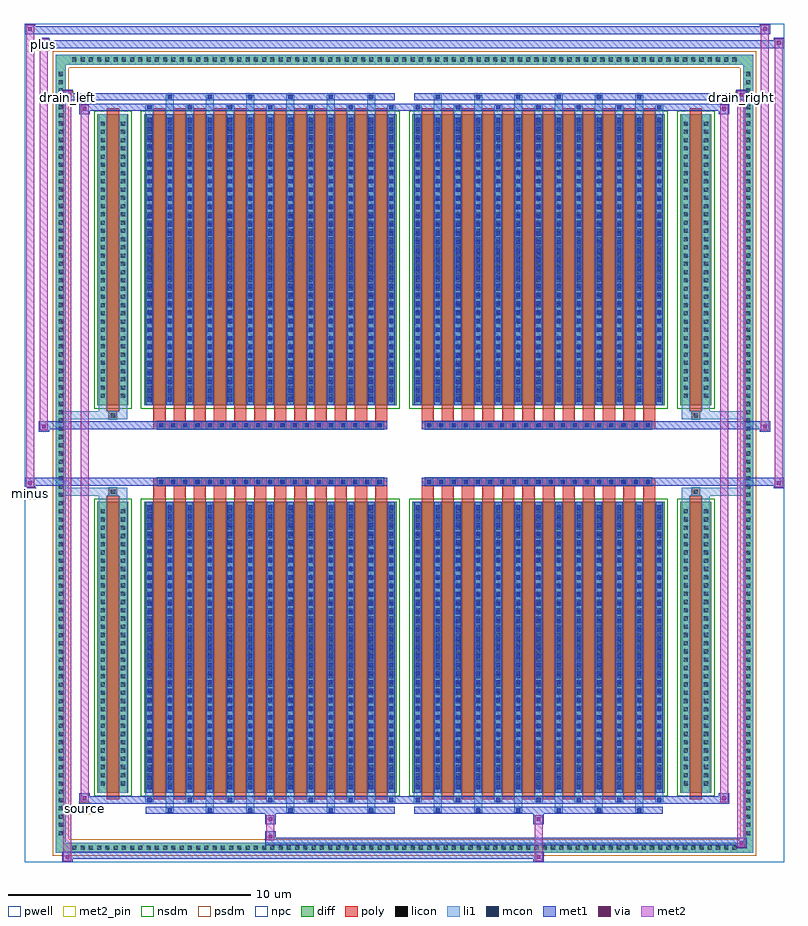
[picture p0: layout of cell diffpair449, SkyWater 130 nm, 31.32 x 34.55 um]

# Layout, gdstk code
import gdstk
lib = gdstk.Library(unit=1e-6, precision=5e-09)
def R(c, l, rs):  # rectangles x0, y0, x1, y1
    for r in rs: c.add(gdstk.rectangle(r[:2], r[2:], *l))
def A(c, l, x, y, w, h, nx, ny, dx, dy):  # array of equal rectangles
    R(c, l, [(x+i*dx, y+j*dy, x+i*dx+w, y+j*dy+h) for i in range(nx) for j in range(ny)])
def P(c, l, *ps):  # polygons
    for p in ps: c.add(gdstk.Polygon(p, *l))
pwell = (64, 44)
diff = (65, 20)
poly = (66, 20)
licon = (66, 44)
li1 = (67, 20)
mcon = (67, 44)
met1 = (68, 20)
via = (68, 44)
met2_pin = (69, 16)
met2 = (69, 20)
nsdm = (93, 44)
psdm = (94, 20)
npc = (95, 20)

diffpair449 = lib.new_cell('diffpair449')
R(diffpair449, pwell, [(-15.64,-16.84,15.64,17.71), (-12.96,-15.03,-0.01,-0.805), (0.01,-15.03,12.96,-0.805), (-12.96,0.805,-0.01,15.03), (0.01,0.805,12.96,15.03)])
A(diffpair449, diff, -13.805, -16.44, 0.41, 0.41, 81, 2, 0.34, 32.47)
A(diffpair449, diff, -14.37, -15.845, 0.41, 0.41, 1, 93, 0, 0.34)
A(diffpair449, diff, 13.96, -15.845, 0.41, 0.41, 1, 93, 0, 0.34)
R(diffpair449, diff, [(-13.805,-16.44,13.805,-16.03), (-14.37,-15.845,-13.96,15.845), (13.96,-15.845,14.37,15.845), (-12.65,-13.985,-11.37,-1.985), (-10.73,-13.985,-0.32,-1.985), (0.32,-13.985,10.73,-1.985), (11.37,-13.985,12.65,-1.985), (-12.65,1.985,-11.37,13.985), (-10.73,1.985,-0.32,13.985), (0.32,1.985,10.73,13.985), (11.37,1.985,12.65,13.985), (-13.805,16.03,13.805,16.44)])
P(diffpair449, diff, [(14.37,16.44),(-14.37,16.44),(-14.37,-16.03),(-13.96,-16.03),(-13.96,16.03),(13.96,16.03),(13.96,-16.03),(-13.96,-16.03),(-14.37,-16.03),(-14.37,-16.44),(14.37,-16.44)])
A(diffpair449, poly, -10.34, -14.235, 0.5, 12.5, 12, 2, 0.83, 15.97)
A(diffpair449, poly, 0.71, -14.235, 0.5, 12.5, 12, 2, 0.83, 15.97)
A(diffpair449, poly, -10.34, -1.735, 0.5, 0.4, 12, 2, 0.83, 3.07)
A(diffpair449, poly, 0.71, -1.735, 0.5, 0.4, 12, 2, 0.83, 3.07)
A(diffpair449, poly, -10.19, -1.335, 0.33, 0.33, 19, 2, 0.5, 2.34)
A(diffpair449, poly, 0.86, -1.335, 0.33, 0.33, 19, 2, 0.5, 2.34)
R(diffpair449, poly, [(-12.26,-14.235,-11.76,-1.735), (11.76,-14.235,12.26,-1.735), (-12.175,-1.735,-11.845,-1.405), (-12.175,-1.735,-11.845,-1.405), (11.845,-1.735,12.175,-1.405), (11.845,-1.735,12.175,-1.405), (-10.34,-1.335,-0.71,-1.005), (0.71,-1.335,10.34,-1.005), (-10.34,1.005,-0.71,1.335), (0.71,1.005,10.34,1.335), (-12.175,1.405,-11.845,1.735), (-12.175,1.405,-11.845,1.735), (11.845,1.405,12.175,1.735), (11.845,1.405,12.175,1.735), (-12.26,1.735,-11.76,14.235), (11.76,1.735,12.26,14.235)])
A(diffpair449, licon, -13.685, -16.32, 0.17, 0.17, 81, 2, 0.34, 32.47)
A(diffpair449, licon, -14.25, -15.725, 0.17, 0.17, 1, 93, 0, 0.34)
A(diffpair449, licon, 14.08, -15.725, 0.17, 0.17, 1, 93, 0, 0.34)
A(diffpair449, licon, -12.51, -13.68, 0.17, 0.17, 1, 34, 0, 0.34)
A(diffpair449, licon, -11.68, -13.68, 0.17, 0.17, 1, 34, 0, 0.34)
A(diffpair449, licon, -10.59, -13.68, 0.17, 0.17, 13, 34, 0.83, 0.34)
A(diffpair449, licon, 0.46, -13.68, 0.17, 0.17, 13, 34, 0.83, 0.34)
A(diffpair449, licon, 11.51, -13.68, 0.17, 0.17, 1, 34, 0, 0.34)
A(diffpair449, licon, 12.34, -13.68, 0.17, 0.17, 1, 34, 0, 0.34)
A(diffpair449, licon, -10.11, -1.255, 0.17, 0.17, 19, 2, 0.5, 2.34)
A(diffpair449, licon, 0.94, -1.255, 0.17, 0.17, 19, 2, 0.5, 2.34)
A(diffpair449, licon, -12.51, 2.29, 0.17, 0.17, 1, 34, 0, 0.34)
A(diffpair449, licon, -11.68, 2.29, 0.17, 0.17, 1, 34, 0, 0.34)
A(diffpair449, licon, -10.59, 2.29, 0.17, 0.17, 13, 34, 0.83, 0.34)
A(diffpair449, licon, 0.46, 2.29, 0.17, 0.17, 13, 34, 0.83, 0.34)
A(diffpair449, licon, 11.51, 2.29, 0.17, 0.17, 1, 34, 0, 0.34)
A(diffpair449, licon, 12.34, 2.29, 0.17, 0.17, 1, 34, 0, 0.34)
R(diffpair449, licon, [(-12.095,-1.655,-11.925,-1.485), (11.925,-1.655,12.095,-1.485), (-12.095,1.485,-11.925,1.655), (11.925,1.485,12.095,1.655)])
A(diffpair449, li1, -13.765, -16.4, 0.33, 0.33, 81, 2, 0.34, 32.47)
A(diffpair449, li1, -14.33, -15.805, 0.33, 0.33, 1, 93, 0, 0.34)
A(diffpair449, li1, 14, -15.805, 0.33, 0.33, 1, 93, 0, 0.34)
A(diffpair449, li1, -9.84, -14.79, 0.33, 0.805, 6, 2, 1.66, 28.775)
A(diffpair449, li1, -9.76, -14.79, 0.17, 0.17, 6, 2, 1.66, 29.41)
A(diffpair449, li1, 1.21, -14.79, 0.33, 0.805, 6, 2, 1.66, 28.775)
A(diffpair449, li1, 1.29, -14.79, 0.17, 0.17, 6, 2, 1.66, 29.41)
A(diffpair449, li1, -10.67, -14.36, 0.33, 0.375, 7, 2, 1.66, 28.345)
A(diffpair449, li1, -10.59, -14.36, 0.17, 0.17, 7, 2, 1.66, 28.55)
A(diffpair449, li1, 0.38, -14.36, 0.33, 0.375, 7, 2, 1.66, 28.345)
A(diffpair449, li1, 0.46, -14.36, 0.17, 0.17, 7, 2, 1.66, 28.55)
A(diffpair449, li1, -10.67, -13.985, 0.33, 12, 13, 2, 0.83, 15.97)
A(diffpair449, li1, 0.38, -13.985, 0.33, 12, 13, 2, 0.83, 15.97)
A(diffpair449, li1, -10.59, -13.83, 0.17, 0.17, 13, 33, 0.83, 0.36)
A(diffpair449, li1, -10.59, -13.83, 0.17, 11.69, 13, 2, 0.83, 15.97)
A(diffpair449, li1, 0.46, -13.83, 0.17, 0.17, 13, 33, 0.83, 0.36)
A(diffpair449, li1, 0.46, -13.83, 0.17, 11.69, 13, 2, 0.83, 15.97)
A(diffpair449, li1, -12.59, -13.76, 0.33, 0.33, 1, 34, 0, 0.34)
A(diffpair449, li1, -11.76, -13.76, 0.33, 0.33, 1, 34, 0, 0.34)
A(diffpair449, li1, -10.67, -13.76, 0.33, 0.33, 13, 34, 0.83, 0.34)
A(diffpair449, li1, 0.38, -13.76, 0.33, 0.33, 13, 34, 0.83, 0.34)
A(diffpair449, li1, 11.43, -13.76, 0.33, 0.33, 1, 34, 0, 0.34)
A(diffpair449, li1, 12.26, -13.76, 0.33, 0.33, 1, 34, 0, 0.34)
A(diffpair449, li1, -10.19, -1.335, 0.33, 0.33, 19, 2, 0.5, 2.34)
A(diffpair449, li1, 0.86, -1.335, 0.33, 0.33, 19, 2, 0.5, 2.34)
A(diffpair449, li1, -10.59, 2.14, 0.17, 0.17, 13, 33, 0.83, 0.36)
A(diffpair449, li1, 0.46, 2.14, 0.17, 0.17, 13, 33, 0.83, 0.36)
A(diffpair449, li1, -12.59, 2.21, 0.33, 0.33, 1, 34, 0, 0.34)
A(diffpair449, li1, -11.76, 2.21, 0.33, 0.33, 1, 34, 0, 0.34)
A(diffpair449, li1, -10.67, 2.21, 0.33, 0.33, 13, 34, 0.83, 0.34)
A(diffpair449, li1, 0.38, 2.21, 0.33, 0.33, 13, 34, 0.83, 0.34)
A(diffpair449, li1, 11.43, 2.21, 0.33, 0.33, 1, 34, 0, 0.34)
A(diffpair449, li1, 12.26, 2.21, 0.33, 0.33, 1, 34, 0, 0.34)
R(diffpair449, li1, [(-14.37,-16.44,-13.96,-16.03), (-14.37,-16.44,-13.96,-16.03), (-13.96,-16.44,13.96,-16.03), (13.96,-16.44,14.37,-16.03), (13.96,-16.44,14.37,-16.03), (-14.37,-16.03,-13.96,16.03), (13.96,-16.03,14.37,16.03), (-12.59,-13.985,-12.26,-1.985), (-11.76,-13.985,-11.43,-1.985), (11.43,-13.985,11.76,-1.985), (12.26,-13.985,12.59,-1.985), (-12.59,-1.985,-12.26,-1.405), (-11.76,-1.985,-11.43,-1.405), (11.43,-1.985,11.76,-1.405), (12.26,-1.985,12.59,-1.405), (-14.37,-1.735,-12.175,-1.405), (-12.59,-1.735,-12.175,-1.405), (-12.175,-1.735,-11.845,-1.405), (-11.845,-1.735,-11.43,-1.405), (11.43,-1.735,11.845,-1.405), (11.845,-1.735,12.175,-1.405), (11.845,-1.735,14.37,-1.405), (12.175,-1.735,12.59,-1.405), (-14.37,1.405,-12.175,1.735), (-12.59,1.405,-12.175,1.735), (-12.59,1.405,-12.26,1.985), (-12.175,1.405,-11.845,1.735), (-11.845,1.405,-11.43,1.735), (-11.76,1.405,-11.43,1.985), (11.43,1.405,11.845,1.735), (11.43,1.405,11.76,1.985), (11.845,1.405,12.175,1.735), (11.845,1.405,14.37,1.735), (12.175,1.405,12.59,1.735), (12.26,1.405,12.59,1.985), (-12.59,1.985,-12.26,13.985), (-11.76,1.985,-11.43,13.985), (11.43,1.985,11.76,13.985), (12.26,1.985,12.59,13.985), (-14.37,16.03,-13.96,16.44), (-14.37,16.03,-13.96,16.44), (-13.96,16.03,13.96,16.44), (13.96,16.03,14.37,16.44), (13.96,16.03,14.37,16.44)])
A(diffpair449, mcon, -9.76, -14.79, 0.17, 0.17, 6, 2, 1.66, 29.41)
A(diffpair449, mcon, 1.29, -14.79, 0.17, 0.17, 6, 2, 1.66, 29.41)
A(diffpair449, mcon, -10.59, -14.36, 0.17, 0.17, 7, 2, 1.66, 28.55)
A(diffpair449, mcon, 0.46, -14.36, 0.17, 0.17, 7, 2, 1.66, 28.55)
A(diffpair449, mcon, -10.59, -13.83, 0.17, 0.17, 13, 33, 0.83, 0.36)
A(diffpair449, mcon, 0.46, -13.83, 0.17, 0.17, 13, 33, 0.83, 0.36)
A(diffpair449, mcon, -10.11, -1.255, 0.17, 0.17, 19, 2, 0.5, 2.34)
A(diffpair449, mcon, 0.94, -1.255, 0.17, 0.17, 19, 2, 0.5, 2.34)
A(diffpair449, mcon, -10.59, 2.14, 0.17, 0.17, 13, 33, 0.83, 0.36)
A(diffpair449, mcon, 0.46, 2.14, 0.17, 0.17, 13, 33, 0.83, 0.36)
A(diffpair449, met1, -9.82, -14.85, 0.29, 0.29, 6, 2, 1.66, 29.41)
A(diffpair449, met1, 1.23, -14.85, 0.29, 0.29, 6, 2, 1.66, 29.41)
A(diffpair449, met1, -10.65, -14.42, 0.29, 0.29, 7, 2, 1.66, 28.55)
A(diffpair449, met1, 0.4, -14.42, 0.29, 0.29, 7, 2, 1.66, 28.55)
A(diffpair449, met1, -10.65, -13.985, 0.29, 12, 13, 2, 0.83, 15.97)
A(diffpair449, met1, 0.4, -13.985, 0.29, 12, 13, 2, 0.83, 15.97)
A(diffpair449, met1, -10.65, -13.89, 0.29, 0.29, 13, 33, 0.83, 0.36)
A(diffpair449, met1, 0.4, -13.89, 0.29, 0.29, 13, 33, 0.83, 0.36)
A(diffpair449, met1, -10.17, -1.315, 0.29, 0.29, 19, 2, 0.5, 2.34)
A(diffpair449, met1, 0.88, -1.315, 0.29, 0.29, 19, 2, 0.5, 2.34)
A(diffpair449, met1, -10.65, 2.08, 0.29, 0.29, 13, 33, 0.83, 0.36)
A(diffpair449, met1, 0.4, 2.08, 0.29, 0.29, 13, 33, 0.83, 0.36)
R(diffpair449, met1, [(-14.1,-16.84,-13.67,-16.41), (5.31,-16.84,5.74,-16.41), (-14.1,-16.7,5.74,-16.41), (13.67,-16.27,14.1,-15.84), (-5.74,-16.13,14.1,-15.84), (-5.74,-15.99,-5.31,-15.56), (-5.74,-15.28,-5.31,-14.85), (5.31,-15.28,5.74,-14.85), (-10.65,-14.85,-0.4,-14.56), (0.4,-14.85,10.65,-14.56), (-13.39,-14.42,-12.96,-13.99), (-13.39,-14.42,-10.65,-14.13), (-10.65,-14.42,-0.4,-14.13), (-0.4,-14.42,0.4,-14.13), (0.4,-14.42,10.65,-14.13), (10.65,-14.42,13.39,-14.13), (12.96,-14.42,13.39,-13.99), (-15.64,-1.435,-15.21,-1.005), (15.21,-1.435,15.64,-1.005), (-15.64,-1.335,-0.71,-1.005), (-10.34,-1.335,-0.71,-1.005), (0.71,-1.335,10.34,-1.005), (0.71,-1.335,15.64,-1.005), (-15.07,0.905,-14.64,1.335), (14.64,0.905,15.07,1.335), (-15.07,1.005,-10.34,1.335), (-10.34,1.005,-0.71,1.335), (0.71,1.005,10.34,1.335), (10.34,1.005,15.07,1.335), (-13.39,13.99,-12.96,14.42), (12.96,13.99,13.39,14.42), (-13.39,14.13,-10.65,14.42), (-10.65,14.13,-0.4,14.42), (-0.4,14.13,0.4,14.42), (0.4,14.13,10.65,14.42), (10.65,14.13,13.39,14.42), (-14.1,14.56,-13.67,14.99), (-14.1,14.56,-10.65,14.85), (-10.65,14.56,-0.4,14.85), (0.4,14.56,10.65,14.85), (10.65,14.56,14.1,14.85), (13.67,14.56,14.1,14.99), (-15.07,16.71,-14.64,17.14), (-15.07,16.71,-12.96,17.04), (-12.96,16.71,12.96,17.04), (12.96,16.71,15.64,17.04), (15.21,16.71,15.64,17.14), (-15.64,17.28,-15.21,17.71), (-15.64,17.28,-12.96,17.61), (-12.96,17.28,12.96,17.61), (12.96,17.28,15.07,17.61), (14.64,17.28,15.07,17.71)])
R(diffpair449, via, [(-13.96,-16.7,-13.81,-16.55), (5.45,-16.7,5.6,-16.55), (13.81,-16.13,13.96,-15.98), (-5.6,-15.85,-5.45,-15.7), (-5.6,-15.14,-5.45,-14.99), (5.45,-15.14,5.6,-14.99), (-13.25,-14.28,-13.1,-14.13), (13.1,-14.28,13.25,-14.13), (-15.5,-1.295,-15.35,-1.145), (15.35,-1.295,15.5,-1.145), (-14.93,1.045,-14.78,1.195), (14.78,1.045,14.93,1.195), (-13.25,14.13,-13.1,14.28), (13.1,14.13,13.25,14.28), (-13.96,14.7,-13.81,14.85), (13.81,14.7,13.96,14.85), (-14.93,16.85,-14.78,17), (15.35,16.85,15.5,17), (-15.5,17.42,-15.35,17.57), (14.78,17.42,14.93,17.57)])
R(diffpair449, met2_pin, [(-13.425,-14.87,-12.925,-14.37), (-15.675,-1.885,-15.175,-1.385), (-14.135,14.44,-13.635,14.94), (13.635,14.44,14.135,14.94), (-15.105,16.59,-14.605,17.09)])
R(diffpair449, met2, [(-14.05,-16.79,-13.72,-16.46), (-14.05,-16.79,-13.72,14.94), (5.36,-16.79,5.69,-16.46), (5.36,-16.46,5.69,-15.23), (13.72,-16.22,14.05,-15.89), (13.72,-16.22,14.05,14.94), (-5.69,-15.94,-5.36,-15.61), (-5.69,-15.61,-5.36,-15.23), (-5.69,-15.23,-5.36,-14.9), (5.36,-15.23,5.69,-14.9), (-13.34,-14.37,-13.01,-14.04), (-13.34,-14.37,-13.01,14.37), (13.01,-14.37,13.34,-14.04), (13.01,-14.37,13.34,14.37), (-15.59,-1.385,-15.26,-1.055), (-15.59,-1.385,-15.26,17.66), (15.26,-1.385,15.59,-1.055), (15.26,-1.385,15.59,17.09), (-15.02,0.955,-14.69,1.285), (-15.02,0.955,-14.69,17.09), (14.69,0.955,15.02,1.285), (14.69,0.955,15.02,17.66), (-13.34,14.04,-13.01,14.37), (13.01,14.04,13.34,14.37), (-14.05,14.61,-13.72,14.94), (13.72,14.61,14.05,14.94), (-15.02,16.76,-14.69,17.09), (15.26,16.76,15.59,17.09), (-15.59,17.33,-15.26,17.66), (14.69,17.33,15.02,17.66)])
P(diffpair449, met2, [(15.59,-1.385),(15.59,-1.385),(15.59,-1.055),(15.59,-1.055)],
  [(15.59,16.76),(15.59,16.76),(15.59,17.09),(15.59,17.09)],
  [(-15.26,-1.385),(-15.26,-1.385),(-15.26,-1.055),(-15.26,-1.055)],
  [(-15.26,17.33),(-15.26,17.33),(-15.26,17.66),(-15.26,17.66)],
  [(15.02,0.955),(15.02,0.955),(15.02,1.285),(15.02,1.285)],
  [(15.02,17.33),(15.02,17.33),(15.02,17.66),(15.02,17.66)],
  [(-14.69,0.955),(-14.69,0.955),(-14.69,1.285),(-14.69,1.285)],
  [(-14.69,16.76),(-14.69,16.76),(-14.69,17.09),(-14.69,17.09)],
  [(-13.72,-16.79),(-13.72,-16.79),(-13.72,-16.46),(-13.72,-16.46)],
  [(-13.72,14.61),(-13.72,14.61),(-13.72,14.94),(-13.72,14.94)],
  [(14.05,-16.22),(14.05,-16.22),(14.05,-15.89),(14.05,-15.89)],
  [(14.05,14.61),(14.05,14.61),(14.05,14.94),(14.05,14.94)],
  [(-13.01,-14.37),(-13.01,-14.37),(-13.01,-14.04),(-13.01,-14.04)],
  [(-13.01,14.04),(-13.01,14.04),(-13.01,14.37),(-13.01,14.37)],
  [(13.34,-14.37),(13.34,-14.37),(13.34,-14.04),(13.34,-14.04)],
  [(13.34,14.04),(13.34,14.04),(13.34,14.37),(13.34,14.37)])
R(diffpair449, nsdm, [(-12.78,-14.115,-11.24,-1.855), (-10.86,-14.115,-0.19,-1.855), (0.19,-14.115,10.86,-1.855), (11.24,-14.115,12.78,-1.855), (-12.78,1.855,-11.24,14.115), (-10.86,1.855,-0.19,14.115), (0.19,1.855,10.86,14.115), (11.24,1.855,12.78,14.115)])
P(diffpair449, psdm, [(14.5,16.57),(-14.5,16.57),(-14.5,-15.9),(-13.83,-15.9),(-13.83,15.9),(13.83,15.9),(13.83,-15.9),(-13.83,-15.9),(-14.5,-15.9),(-14.5,-16.57),(14.5,-16.57)])
A(diffpair449, npc, -10.21, -1.355, 0.37, 0.37, 19, 2, 0.5, 2.34)
A(diffpair449, npc, 0.84, -1.355, 0.37, 0.37, 19, 2, 0.5, 2.34)
R(diffpair449, npc, [(-12.195,-1.755,-11.825,-1.385), (11.825,-1.755,12.195,-1.385), (-10.21,-1.355,-9.34,-0.985), (-10.21,-1.355,-9.34,-0.985), (-9.71,-1.355,-8.84,-0.985), (-9.71,-1.355,-8.84,-0.985), (-9.21,-1.355,-8.34,-0.985), (-9.21,-1.355,-8.34,-0.985), (-8.71,-1.355,-7.84,-0.985), (-8.71,-1.355,-7.84,-0.985), (-8.21,-1.355,-7.34,-0.985), (-8.21,-1.355,-7.34,-0.985), (-7.71,-1.355,-6.84,-0.985), (-7.71,-1.355,-6.84,-0.985), (-7.21,-1.355,-6.34,-0.985), (-7.21,-1.355,-6.34,-0.985), (-6.71,-1.355,-5.84,-0.985), (-6.71,-1.355,-5.84,-0.985), (-6.21,-1.355,-5.34,-0.985), (-6.21,-1.355,-5.34,-0.985), (-5.71,-1.355,-4.84,-0.985), (-5.71,-1.355,-4.84,-0.985), (-5.21,-1.355,-4.34,-0.985), (-5.21,-1.355,-4.34,-0.985), (-4.71,-1.355,-3.84,-0.985), (-4.71,-1.355,-3.84,-0.985), (-4.21,-1.355,-3.34,-0.985), (-4.21,-1.355,-3.34,-0.985), (-3.71,-1.355,-2.84,-0.985), (-3.71,-1.355,-2.84,-0.985), (-3.21,-1.355,-2.34,-0.985), (-3.21,-1.355,-2.34,-0.985), (-2.71,-1.355,-1.84,-0.985), (-2.71,-1.355,-1.84,-0.985), (-2.21,-1.355,-1.34,-0.985), (-2.21,-1.355,-1.34,-0.985), (-1.71,-1.355,-0.84,-0.985), (-1.71,-1.355,-0.84,-0.985), (0.84,-1.355,1.71,-0.985), (0.84,-1.355,1.71,-0.985), (1.34,-1.355,2.21,-0.985), (1.34,-1.355,2.21,-0.985), (1.84,-1.355,2.71,-0.985), (1.84,-1.355,2.71,-0.985), (2.34,-1.355,3.21,-0.985), (2.34,-1.355,3.21,-0.985), (2.84,-1.355,3.71,-0.985), (2.84,-1.355,3.71,-0.985), (3.34,-1.355,4.21,-0.985), (3.34,-1.355,4.21,-0.985), (3.84,-1.355,4.71,-0.985), (3.84,-1.355,4.71,-0.985), (4.34,-1.355,5.21,-0.985), (4.34,-1.355,5.21,-0.985), (4.84,-1.355,5.71,-0.985), (4.84,-1.355,5.71,-0.985), (5.34,-1.355,6.21,-0.985), (5.34,-1.355,6.21,-0.985), (5.84,-1.355,6.71,-0.985), (5.84,-1.355,6.71,-0.985), (6.34,-1.355,7.21,-0.985), (6.34,-1.355,7.21,-0.985), (6.84,-1.355,7.71,-0.985), (6.84,-1.355,7.71,-0.985), (7.34,-1.355,8.21,-0.985), (7.34,-1.355,8.21,-0.985), (7.84,-1.355,8.71,-0.985), (7.84,-1.355,8.71,-0.985), (8.34,-1.355,9.21,-0.985), (8.34,-1.355,9.21,-0.985), (8.84,-1.355,9.71,-0.985), (8.84,-1.355,9.71,-0.985), (9.34,-1.355,10.21,-0.985), (9.34,-1.355,10.21,-0.985), (-10.21,0.985,-9.34,1.355), (-10.21,0.985,-9.34,1.355), (-9.71,0.985,-8.84,1.355), (-9.71,0.985,-8.84,1.355), (-9.21,0.985,-8.34,1.355), (-9.21,0.985,-8.34,1.355), (-8.71,0.985,-7.84,1.355), (-8.71,0.985,-7.84,1.355), (-8.21,0.985,-7.34,1.355), (-8.21,0.985,-7.34,1.355), (-7.71,0.985,-6.84,1.355), (-7.71,0.985,-6.84,1.355), (-7.21,0.985,-6.34,1.355), (-7.21,0.985,-6.34,1.355), (-6.71,0.985,-5.84,1.355), (-6.71,0.985,-5.84,1.355), (-6.21,0.985,-5.34,1.355), (-6.21,0.985,-5.34,1.355), (-5.71,0.985,-4.84,1.355), (-5.71,0.985,-4.84,1.355), (-5.21,0.985,-4.34,1.355), (-5.21,0.985,-4.34,1.355), (-4.71,0.985,-3.84,1.355), (-4.71,0.985,-3.84,1.355), (-4.21,0.985,-3.34,1.355), (-4.21,0.985,-3.34,1.355), (-3.71,0.985,-2.84,1.355), (-3.71,0.985,-2.84,1.355), (-3.21,0.985,-2.34,1.355), (-3.21,0.985,-2.34,1.355), (-2.71,0.985,-1.84,1.355), (-2.71,0.985,-1.84,1.355), (-2.21,0.985,-1.34,1.355), (-2.21,0.985,-1.34,1.355), (-1.71,0.985,-0.84,1.355), (-1.71,0.985,-0.84,1.355), (0.84,0.985,1.71,1.355), (0.84,0.985,1.71,1.355), (1.34,0.985,2.21,1.355), (1.34,0.985,2.21,1.355), (1.84,0.985,2.71,1.355), (1.84,0.985,2.71,1.355), (2.34,0.985,3.21,1.355), (2.34,0.985,3.21,1.355), (2.84,0.985,3.71,1.355), (2.84,0.985,3.71,1.355), (3.34,0.985,4.21,1.355), (3.34,0.985,4.21,1.355), (3.84,0.985,4.71,1.355), (3.84,0.985,4.71,1.355), (4.34,0.985,5.21,1.355), (4.34,0.985,5.21,1.355), (4.84,0.985,5.71,1.355), (4.84,0.985,5.71,1.355), (5.34,0.985,6.21,1.355), (5.34,0.985,6.21,1.355), (5.84,0.985,6.71,1.355), (5.84,0.985,6.71,1.355), (6.34,0.985,7.21,1.355), (6.34,0.985,7.21,1.355), (6.84,0.985,7.71,1.355), (6.84,0.985,7.71,1.355), (7.34,0.985,8.21,1.355), (7.34,0.985,8.21,1.355), (7.84,0.985,8.71,1.355), (7.84,0.985,8.71,1.355), (8.34,0.985,9.21,1.355), (8.34,0.985,9.21,1.355), (8.84,0.985,9.71,1.355), (8.84,0.985,9.71,1.355), (9.34,0.985,10.21,1.355), (9.34,0.985,10.21,1.355), (-12.195,1.385,-11.825,1.755), (11.825,1.385,12.195,1.755)])
diffpair449.add(gdstk.Label('minus', (-15.425,-1.635), layer=69, texttype=5))
diffpair449.add(gdstk.Label('drain_right', (13.885,14.69), layer=69, texttype=5))
diffpair449.add(gdstk.Label('drain_left', (-13.885,14.69), layer=69, texttype=5))
diffpair449.add(gdstk.Label('source', (-13.175,-14.62), layer=69, texttype=5))
diffpair449.add(gdstk.Label('plus', (-14.855,16.84), layer=69, texttype=5))

lib.write_gds('diffpair449.gds')
